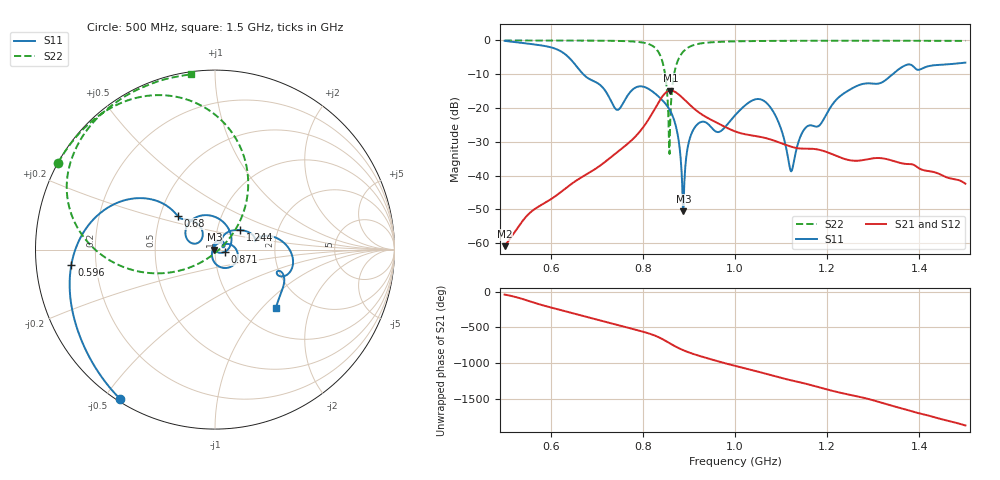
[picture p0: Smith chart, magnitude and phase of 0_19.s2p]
! TOUCHSTONE file generated by CST MICROWAVE STUDIO
! Date and time: Sat Oct 24 11:13:38 2020
! Project name: Scenario_1_Circular_Tissue_in_Line.cst
! Parameters = {L_HA=400; MT=2.54; Rad_Dielectric=30; Rad_Lower=7.3; Rad_Upper=30; a_HA=580; a_WG=246; b_HA=500; b_WG=121; c_HA=0; c_WG=187; d_feed=85; dx1=484.76; h_feed=15; h_lower=18; h_upper=40}
! Header version: 2018
! Port assignment regex: !\s*Touchstone port\s*([0-9]+)\s*=\s*(CST MWS port|CST DS port)\s*([0-9]+|Zmin|Zmax)\s*\(\"(.*)\"\)(\s*mode\s*([0-9]+))?.*
! Touchstone port assignment:
! Touchstone port 1 = CST MWS port 1 ("")
! Touchstone port 2 = CST MWS port 2 ("")
# GHz S DB R 50
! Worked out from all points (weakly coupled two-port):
!   1003 points, 500 MHz to 1.5 GHz, reference 50 ohm
!   highest |S21| = -14.82 dB at 860 MHz (marker M1); lowest = -60.9 dB at 500 MHz (marker M2)
!   lowest |S11| = -50.5 dB at 888 MHz (marker M3), VSWR 1.01, Z = 49.7 - j0.0339 ohm
!   |S11| at or under -10 dB: 670.7 MHz to 1.342 GHz (671.1 MHz wide, 66.7 % of centre)
!   |S22| runs from -33.6 to 0.0 dB; largest |S21 - S12| = 5.8e-05
!   S11 on the Smith chart (normalised r, x): 500 MHz: 0.01, -0.55; 596 MHz: 0.11, -0.05; 680 MHz: 0.62, +0.25; 871 MHz: 1.12, -0.03; 1.244 GHz: 1.29, +0.29; 1.5 GHz: 1.43, -1.20
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0.5  -0.12 -122.4  -60.86 -40.8  -60.86 -40.8  -0.01 151.1
0.596  -1.89 -174.0  -47.37 145.6  -47.37 145.6  -0.02 144.4
0.635  -4.48 153.7  -43.48 80.0  -43.48 80.0  -0.03 141.3
0.667  -9.46 137.3  -40.48 22.9  -40.48 22.9  -0.04 138.4
0.68  -11.08 138.0  -39.44 0.5  -39.44 0.5  -0.05 137.0
0.744  -20.53 143.8  -33.10 -105.9  -33.10 -105.9  -0.14 128.6
0.788  -13.72 137.2  -27.82 179.6  -27.82 179.6  -0.42 117.6
0.834  -16.59 64.3  -18.36 81.9  -18.36 81.9  -3.46 82.8
0.86  -20.98 15.4  -14.82 -10.7  -14.82 -10.7  -21.63 -134.1
0.871  -25.01 -12.8  -15.30 -50.3  -15.30 -50.3  -8.04 -160.9
0.888  -50.50 -173.4  -17.22 -102.2  -17.22 -102.2  -3.26 178.5
0.899  -30.52 102.5  -18.67 -130.2  -18.67 -130.2  -2.06 169.7
0.914  -25.48 69.7  -20.49 -163.4  -20.49 -163.4  -1.23 161.1
1  -22.16 24.1  -26.90 39.8  -26.90 39.8  -0.27 140.2
1.068  -18.43 -58.9  -28.93 -74.2  -28.94 -74.2  -0.15 132.6
1.097  -25.06 -102.5  -30.23 -124.4  -30.23 -124.4  -0.13 130.0
1.122  -38.72 155.4  -31.44 -163.9  -31.44 -163.9  -0.11 127.8
1.145  -27.51 59.6  -32.00 162.3  -32.00 162.3  -0.11 125.9
1.167  -25.16 36.9  -32.04 126.2  -32.04 126.2  -0.10 124.2
1.244  -14.99 37.5  -35.29 0.4  -35.29 0.4  -0.08 118.3
1.334  -10.93 15.6  -35.27 -147.9  -35.27 -147.9  -0.09 111.5
1.5  -6.56 -44.1  -42.38 -76.3  -42.38 -76.3  -0.13 97.9
